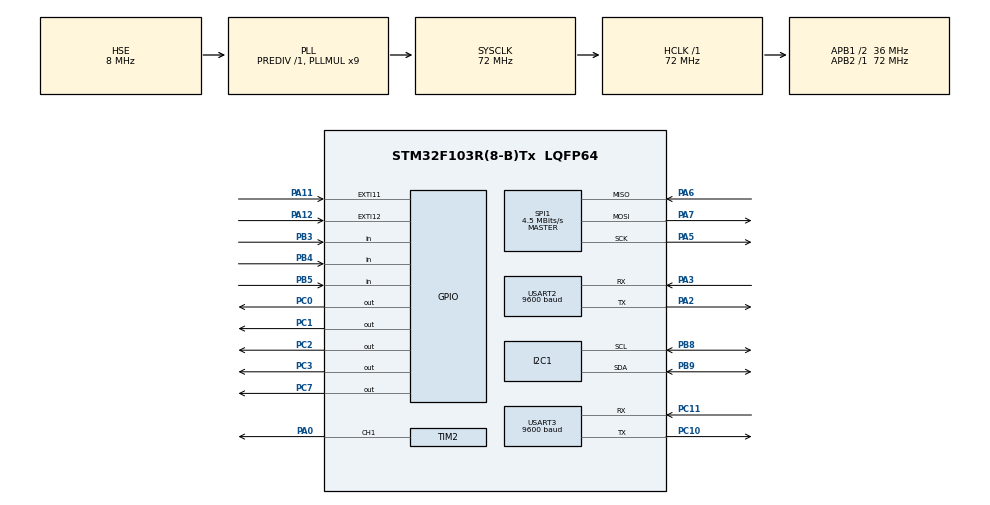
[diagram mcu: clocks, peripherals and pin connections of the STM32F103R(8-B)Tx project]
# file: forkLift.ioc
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Mcu.Family=STM32F1
Mcu.Name=STM32F103R(8-B)Tx
Mcu.Package=LQFP64
NVIC.EXTI15_10_IRQn=true\:0\:0\:false\:false\:true\:true\:true
NVIC.PriorityGroup=NVIC_PRIORITYGROUP_4
NVIC.TIM4_IRQn=true\:0\:0\:false\:false\:true\:true\:true
NVIC.USART2_IRQn=true\:0\:0\:false\:false\:true\:true\:true
NVIC.USART3_IRQn=true\:0\:0\:false\:false\:true\:true\:true
PA0-WKUP.Signal=S_TIM2_CH1_ETR
PA11.Signal=GPXTI11
PA12.Signal=GPXTI12
PA13.Mode=Serial_Wire
PA13.Signal=SYS_JTMS-SWDIO
PA14.Mode=Serial_Wire
PA14.Signal=SYS_JTCK-SWCLK
PA2.Mode=Asynchronous
PA2.Signal=USART2_TX
PA3.Mode=Asynchronous
PA3.Signal=USART2_RX
PA5.Mode=Full_Duplex_Master
PA5.Signal=SPI1_SCK
PA6.Mode=Full_Duplex_Master
PA6.Signal=SPI1_MISO
PA7.Mode=Full_Duplex_Master
PA7.Signal=SPI1_MOSI
PB3.Signal=GPIO_Input
PB4.Signal=GPIO_Input
PB5.Signal=GPIO_Input
PB8.Mode=I2C
PB8.Signal=I2C1_SCL
PB9.Mode=I2C
PB9.Signal=I2C1_SDA
PC0.Signal=GPIO_Output
PC1.Signal=GPIO_Output
PC10.Mode=Asynchronous
PC10.Signal=USART3_TX
PC11.Mode=Asynchronous
PC11.Signal=USART3_RX
PC2.Signal=GPIO_Output
PC3.Signal=GPIO_Output
PC7.Signal=GPIO_Output
PD0-OSC_IN.Mode=HSE-External-Oscillator
PD0-OSC_IN.Signal=RCC_OSC_IN
PD1-OSC_OUT.Mode=HSE-External-Oscillator
PD1-OSC_OUT.Signal=RCC_OSC_OUT
ProjectManager.HeapSize=0x200
ProjectManager.StackSize=0x400
ProjectManager.TargetToolchain=STM32CubeIDE
RCC.AHBFreq_Value=72000000
RCC.APB1CLKDivider=RCC_HCLK_DIV2
RCC.APB1Freq_Value=36000000
RCC.APB1TimFreq_Value=72000000
RCC.APB2Freq_Value=72000000
RCC.APB2TimFreq_Value=72000000
RCC.HCLKFreq_Value=72000000
RCC.PLLMUL=RCC_PLL_MUL9
RCC.PLLSourceVirtual=RCC_PLLSOURCE_HSE
RCC.SYSCLKFreq_VALUE=72000000
RCC.SYSCLKSource=RCC_SYSCLKSOURCE_PLLCLK
RCC.USBFreq_Value=72000000
SH.S_TIM2_CH1_ETR.0=TIM2_CH1,PWM Generation1 CH1
SPI1.BaudRatePrescaler=SPI_BAUDRATEPRESCALER_16
SPI1.CalculateBaudRate=4.5 MBits/s
SPI1.Direction=SPI_DIRECTION_2LINES
SPI1.Mode=SPI_MODE_MASTER
SPI1.VirtualType=VM_MASTER
TIM2.Channel-PWM\ Generation1\ CH1=TIM_CHANNEL_1
TIM2.Prescaler=720-1
TIM4.Period=200
TIM4.Prescaler=720-1
USART2.BaudRate=9600
USART2.VirtualMode=VM_ASYNC
USART3.BaudRate=9600
USART3.VirtualMode=VM_ASYNC
VP_TIM2_VS_ClockSourceINT.Mode=Internal
VP_TIM4_VS_ClockSourceINT.Mode=Internal
board=custom

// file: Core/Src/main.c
/* USER CODE BEGIN Header */
/**
  ******************************************************************************
  * @file           : main.c
  * @brief          : Main program body
  ******************************************************************************
  * @attention
  *
  * Copyright (c) 2022 STMicroelectronics.
  * All rights reserved.
  *
  * This software is licensed under terms that can be found in the LICENSE file
  * in the root directory of this software component.
  * If no LICENSE file comes with this software, it is provided AS-IS.
  *
  ******************************************************************************
  */
/* USER CODE END Header */
#include "main.h"

I2C_HandleTypeDef hi2c1;

SPI_HandleTypeDef hspi1;

TIM_HandleTypeDef htim2;
TIM_HandleTypeDef htim4;

UART_HandleTypeDef huart2;
UART_HandleTypeDef huart3;

void SystemClock_Config(void);
static void MX_GPIO_Init(void);
static void MX_SPI1_Init(void);
static void MX_TIM4_Init(void);
static void MX_USART2_UART_Init(void);
static void MX_USART3_UART_Init(void);
static void MX_I2C1_Init(void);
static void MX_TIM2_Init(void);

/* USER CODE BEGIN 0 */
int _write(int file, char *ptr, int len) {
	HAL_UART_Transmit(&huart2, ptr, len, 1000);
	return len;
}

void HAL_GPIO_EXTI_Callback(uint16_t GPIO_Pin) {
  if(GPIO_Pin == GPIO_PIN_11) {
	  stepMotor_SetState(MOTOR_MAX);
  }
  else if(GPIO_Pin == GPIO_PIN_12) {
	  stepMotor_SetState(MOTOR_MIN);
  }
}

// Bluetooth Interrupt
void HAL_UART_RxCpltCallback(UART_HandleTypeDef *huart) {
  if(huart->Instance == USART2) {
	  BT_ProcRxData(&hBt2, huart);
  }
  else if(huart->Instance == USART3) {
	  BT_ProcRxData(&hBt3, huart);
  }
}

void HAL_TIM_PeriodElapsedCallback(TIM_HandleTypeDef *htim) {
	if(htim->Instance == TIM4) {
		stepMotor_ISR_Process();
	}
}
/* USER CODE END 0 */

int main(void)
{

  /* MCU Configuration--------------------------------------------------------*/

  /* Reset of all peripherals, Initializes the Flash interface and the Systick. */
  HAL_Init();

  /* Configure the system clock */
  SystemClock_Config();

  /* Initialize all configured peripherals */
  MX_GPIO_Init();
  MX_SPI1_Init();
  MX_TIM4_Init();
  MX_USART2_UART_Init();
  MX_USART3_UART_Init();
  MX_I2C1_Init();
  MX_TIM2_Init();
  /* USER CODE BEGIN 2 */
  forkLift_Controller_Init();
  Rfid_Init();
  LCD_Init();
  BUZZER_Init(&htim2, TIM_CHANNEL_1);

  // Interrupt Init for bluetooth
  HAL_UART_Receive_IT(&huart2, &hBt2.uartRxData, 1);
  HAL_UART_Receive_IT(&huart3, &hBt3.uartRxData, 1);
  /* USER CODE END 2 */

  /* Infinite loop */
  /* USER CODE BEGIN WHILE */

  while (1)
  {
	  forkLift_Controller();
    /* USER CODE END WHILE */

  }
}

void SystemClock_Config(void)
{
  RCC_OscInitTypeDef RCC_OscInitStruct = {0};
  RCC_ClkInitTypeDef RCC_ClkInitStruct = {0};

  /** Initializes the RCC Oscillators according to the specified parameters
  * in the RCC_OscInitTypeDef structure.
  */
  RCC_OscInitStruct.OscillatorType = RCC_OSCILLATORTYPE_HSE;
  RCC_OscInitStruct.HSEState = RCC_HSE_ON;
  RCC_OscInitStruct.HSEPredivValue = RCC_HSE_PREDIV_DIV1;
  RCC_OscInitStruct.HSIState = RCC_HSI_ON;
  RCC_OscInitStruct.PLL.PLLState = RCC_PLL_ON;
  RCC_OscInitStruct.PLL.PLLSource = RCC_PLLSOURCE_HSE;
  RCC_OscInitStruct.PLL.PLLMUL = RCC_PLL_MUL9;
  if (HAL_RCC_OscConfig(&RCC_OscInitStruct) != HAL_OK)
  {
    Error_Handler();
  }
  /** Initializes the CPU, AHB and APB buses clocks
  */
  RCC_ClkInitStruct.ClockType = RCC_CLOCKTYPE_HCLK|RCC_CLOCKTYPE_SYSCLK
                              |RCC_CLOCKTYPE_PCLK1|RCC_CLOCKTYPE_PCLK2;
  RCC_ClkInitStruct.SYSCLKSource = RCC_SYSCLKSOURCE_PLLCLK;
  RCC_ClkInitStruct.AHBCLKDivider = RCC_SYSCLK_DIV1;
  RCC_ClkInitStruct.APB1CLKDivider = RCC_HCLK_DIV2;
  RCC_ClkInitStruct.APB2CLKDivider = RCC_HCLK_DIV1;

  if (HAL_RCC_ClockConfig(&RCC_ClkInitStruct, FLASH_LATENCY_2) != HAL_OK)
  {
    Error_Handler();
  }
}

static void MX_I2C1_Init(void)
{

  hi2c1.Instance = I2C1;
  hi2c1.Init.ClockSpeed = 100000;
  hi2c1.Init.DutyCycle = I2C_DUTYCYCLE_2;
  hi2c1.Init.OwnAddress1 = 0;
  hi2c1.Init.AddressingMode = I2C_ADDRESSINGMODE_7BIT;
  hi2c1.Init.DualAddressMode = I2C_DUALADDRESS_DISABLE;
  hi2c1.Init.OwnAddress2 = 0;
  hi2c1.Init.GeneralCallMode = I2C_GENERALCALL_DISABLE;
  hi2c1.Init.NoStretchMode = I2C_NOSTRETCH_DISABLE;
  if (HAL_I2C_Init(&hi2c1) != HAL_OK)
  {
    Error_Handler();
  }

}

static void MX_SPI1_Init(void)
{

  /* SPI1 parameter configuration*/
  hspi1.Instance = SPI1;
  hspi1.Init.Mode = SPI_MODE_MASTER;
  hspi1.Init.Direction = SPI_DIRECTION_2LINES;
  hspi1.Init.DataSize = SPI_DATASIZE_8BIT;
  hspi1.Init.CLKPolarity = SPI_POLARITY_LOW;
  hspi1.Init.CLKPhase = SPI_PHASE_1EDGE;
  hspi1.Init.NSS = SPI_NSS_SOFT;
  hspi1.Init.BaudRatePrescaler = SPI_BAUDRATEPRESCALER_16;
  hspi1.Init.FirstBit = SPI_FIRSTBIT_MSB;
  hspi1.Init.TIMode = SPI_TIMODE_DISABLE;
  hspi1.Init.CRCCalculation = SPI_CRCCALCULATION_DISABLE;
  hspi1.Init.CRCPolynomial = 10;
  if (HAL_SPI_Init(&hspi1) != HAL_OK)
  {
    Error_Handler();
  }

}

static void MX_TIM2_Init(void)
{

  TIM_ClockConfigTypeDef sClockSourceConfig = {0};
  TIM_MasterConfigTypeDef sMasterConfig = {0};
  TIM_OC_InitTypeDef sConfigOC = {0};

  htim2.Instance = TIM2;
  htim2.Init.Prescaler = 720-1;
  htim2.Init.CounterMode = TIM_COUNTERMODE_UP;
  htim2.Init.Period = 65535;
  htim2.Init.ClockDivision = TIM_CLOCKDIVISION_DIV1;
  htim2.Init.AutoReloadPreload = TIM_AUTORELOAD_PRELOAD_DISABLE;
  if (HAL_TIM_Base_Init(&htim2) != HAL_OK)
  {
    Error_Handler();
  }
  sClockSourceConfig.ClockSource = TIM_CLOCKSOURCE_INTERNAL;
  if (HAL_TIM_ConfigClockSource(&htim2, &sClockSourceConfig) != HAL_OK)
  {
    Error_Handler();
  }
  if (HAL_TIM_PWM_Init(&htim2) != HAL_OK)
  {
    Error_Handler();
  }
  sMasterConfig.MasterOutputTrigger = TIM_TRGO_RESET;
  sMasterConfig.MasterSlaveMode = TIM_MASTERSLAVEMODE_DISABLE;
  if (HAL_TIMEx_MasterConfigSynchronization(&htim2, &sMasterConfig) != HAL_OK)
  {
    Error_Handler();
  }
  sConfigOC.OCMode = TIM_OCMODE_PWM1;
  sConfigOC.Pulse = 0;
  sConfigOC.OCPolarity = TIM_OCPOLARITY_HIGH;
  sConfigOC.OCFastMode = TIM_OCFAST_DISABLE;
  if (HAL_TIM_PWM_ConfigChannel(&htim2, &sConfigOC, TIM_CHANNEL_1) != HAL_OK)
  {
    Error_Handler();
  }
  HAL_TIM_MspPostInit(&htim2);

}

static void MX_TIM4_Init(void)
{

  TIM_ClockConfigTypeDef sClockSourceConfig = {0};
  TIM_MasterConfigTypeDef sMasterConfig = {0};

  htim4.Instance = TIM4;
  htim4.Init.Prescaler = 720-1;
  htim4.Init.CounterMode = TIM_COUNTERMODE_UP;
  htim4.Init.Period = 200;
  htim4.Init.ClockDivision = TIM_CLOCKDIVISION_DIV1;
  htim4.Init.AutoReloadPreload = TIM_AUTORELOAD_PRELOAD_DISABLE;
  if (HAL_TIM_Base_Init(&htim4) != HAL_OK)
  {
    Error_Handler();
  }
  sClockSourceConfig.ClockSource = TIM_CLOCKSOURCE_INTERNAL;
  if (HAL_TIM_ConfigClockSource(&htim4, &sClockSourceConfig) != HAL_OK)
  {
    Error_Handler();
  }
  sMasterConfig.MasterOutputTrigger = TIM_TRGO_RESET;
  sMasterConfig.MasterSlaveMode = TIM_MASTERSLAVEMODE_DISABLE;
  if (HAL_TIMEx_MasterConfigSynchronization(&htim4, &sMasterConfig) != HAL_OK)
  {
    Error_Handler();
  }

}

static void MX_USART2_UART_Init(void)
{

  huart2.Instance = USART2;
  huart2.Init.BaudRate = 9600;
  huart2.Init.WordLength = UART_WORDLENGTH_8B;
  huart2.Init.StopBits = UART_STOPBITS_1;
  huart2.Init.Parity = UART_PARITY_NONE;
  huart2.Init.Mode = UART_MODE_TX_RX;
  huart2.Init.HwFlowCtl = UART_HWCONTROL_NONE;
  huart2.Init.OverSampling = UART_OVERSAMPLING_16;
  if (HAL_UART_Init(&huart2) != HAL_OK)
  {
    Error_Handler();
  }

}

static void MX_USART3_UART_Init(void)
{

  huart3.Instance = USART3;
  huart3.Init.BaudRate = 9600;
  huart3.Init.WordLength = UART_WORDLENGTH_8B;
  huart3.Init.StopBits = UART_STOPBITS_1;
  huart3.Init.Parity = UART_PARITY_NONE;
  huart3.Init.Mode = UART_MODE_TX_RX;
  huart3.Init.HwFlowCtl = UART_HWCONTROL_NONE;
  huart3.Init.OverSampling = UART_OVERSAMPLING_16;
  if (HAL_UART_Init(&huart3) != HAL_OK)
  {
    Error_Handler();
  }

}

static void MX_GPIO_Init(void)
{
  GPIO_InitTypeDef GPIO_InitStruct = {0};

  /* GPIO Ports Clock Enable */
  __HAL_RCC_GPIOD_CLK_ENABLE();
  __HAL_RCC_GPIOC_CLK_ENABLE();
  __HAL_RCC_GPIOA_CLK_ENABLE();
  __HAL_RCC_GPIOB_CLK_ENABLE();

  /*Configure GPIO pin Output Level */
  HAL_GPIO_WritePin(GPIOC, GPIO_PIN_0|GPIO_PIN_1|GPIO_PIN_2|GPIO_PIN_3
                          |GPIO_PIN_7, GPIO_PIN_RESET);

  /*Configure GPIO pins : PC0 PC1 PC2 PC3
                           PC7 */
  GPIO_InitStruct.Pin = GPIO_PIN_0|GPIO_PIN_1|GPIO_PIN_2|GPIO_PIN_3
                          |GPIO_PIN_7;
  GPIO_InitStruct.Mode = GPIO_MODE_OUTPUT_PP;
  GPIO_InitStruct.Pull = GPIO_NOPULL;
  GPIO_InitStruct.Speed = GPIO_SPEED_FREQ_LOW;
  HAL_GPIO_Init(GPIOC, &GPIO_InitStruct);

  /*Configure GPIO pins : PA11 PA12 */
  GPIO_InitStruct.Pin = GPIO_PIN_11|GPIO_PIN_12;
  GPIO_InitStruct.Mode = GPIO_MODE_IT_RISING;
  GPIO_InitStruct.Pull = GPIO_NOPULL;
  HAL_GPIO_Init(GPIOA, &GPIO_InitStruct);

  /*Configure GPIO pins : PB3 PB4 PB5 */
  GPIO_InitStruct.Pin = GPIO_PIN_3|GPIO_PIN_4|GPIO_PIN_5;
  GPIO_InitStruct.Mode = GPIO_MODE_INPUT;
  GPIO_InitStruct.Pull = GPIO_NOPULL;
  HAL_GPIO_Init(GPIOB, &GPIO_InitStruct);

  /* EXTI interrupt init*/
  HAL_NVIC_SetPriority(EXTI15_10_IRQn, 0, 0);
  HAL_NVIC_EnableIRQ(EXTI15_10_IRQn);

}

void Error_Handler(void)
{
  __disable_irq();
  while (1)
  {
  }
}
